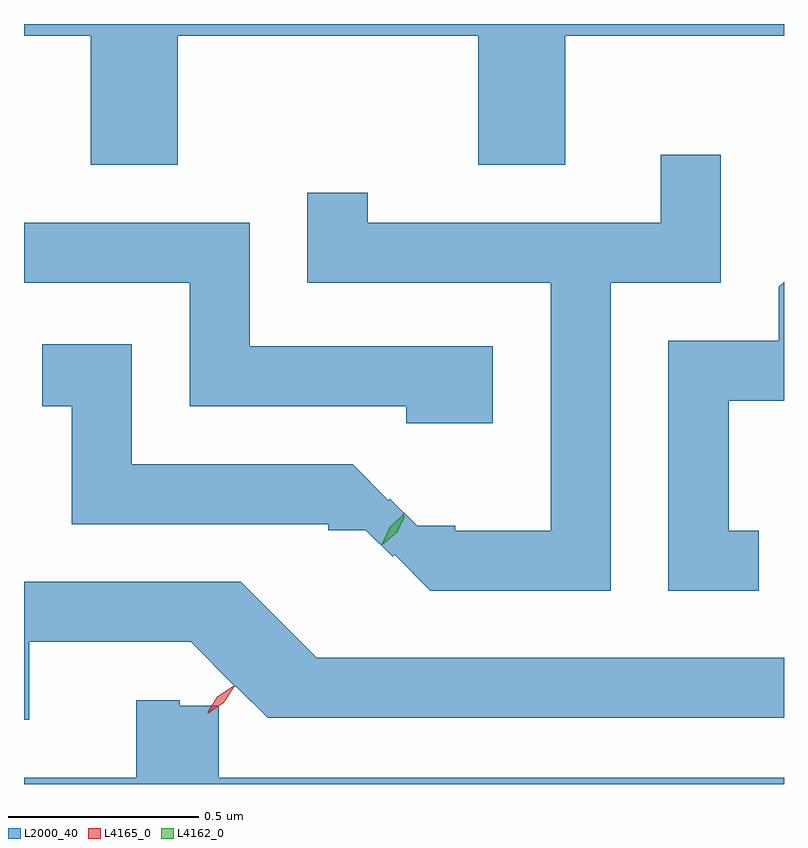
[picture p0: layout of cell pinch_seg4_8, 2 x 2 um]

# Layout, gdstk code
import gdstk
lib = gdstk.Library(unit=1e-6, precision=1e-09)
def P(c, l, *ps):  # polygons
    for p in ps: c.add(gdstk.Polygon(p, *l))
L2000_40 = (2000, 40)
L4162_0 = (4162, 0)
L4165_0 = (4165, 0)

pinch_seg4_8 = lib.new_cell('pinch_seg4_8')
P(pinch_seg4_8, L2000_40, [(858.895,1336.916),(859.071,1336.916),(859.071,1336.576),(859.299,1336.576),(859.299,1336.916),(860.091,1336.916),(860.091,1336.576),(860.319,1336.576),(860.319,1336.916),(860.895,1336.916),(860.895,1336.947),(858.895,1336.947)],
  [(860.439,1336.266),(860.729,1336.266),(860.729,1336.603),(860.571,1336.603),(860.571,1336.424),(859.799,1336.424),(859.799,1336.503),(859.641,1336.503),(859.641,1336.266),(860.281,1336.266),(860.281,1335.614),(860.03,1335.614),(860.03,1335.626),(859.93,1335.626),(859.858,1335.698),(859.854,1335.694),(859.76,1335.789),(859.179,1335.789),(859.179,1336.104),(858.943,1336.104),(858.943,1335.941),(859.021,1335.941),(859.021,1335.631),(859.695,1335.631),(859.695,1335.615),(859.794,1335.615),(859.865,1335.545),(859.87,1335.55),(859.964,1335.456),(860.439,1335.456)],
  [(860.129,1336.099),(859.489,1336.099),(859.489,1336.424),(858.895,1336.424),(858.895,1336.266),(859.331,1336.266),(859.331,1335.941),(859.901,1335.941),(859.901,1335.896),(860.129,1335.896)],
  [(860.828,1335.614),(860.749,1335.614),(860.749,1335.956),(860.895,1335.956),(860.895,1336.269),(860.881,1336.255),(860.881,1336.114),(860.591,1336.114),(860.591,1335.456),(860.828,1335.456)],
  [(858.909,1335.321),(859.334,1335.321),(859.452,1335.202),(859.453,1335.203),(859.536,1335.121),(860.895,1335.121),(860.895,1335.279),(859.665,1335.279),(859.465,1335.479),(858.895,1335.479),(858.895,1335.116),(858.909,1335.116)],
  [(860.895,1334.964),(859.408,1334.964),(859.408,1335.153),(859.305,1335.153),(859.305,1335.168),(859.191,1335.168),(859.191,1334.964),(858.895,1334.964),(858.895,1334.947),(860.895,1334.947)])
P(pinch_seg4_8, L4162_0, [(859.837,1335.575),(859.837,1335.576),(859.858,1335.623),(859.895,1335.659),(859.896,1335.659),(859.896,1335.658),(859.874,1335.611),(859.837,1335.575)],
  [(859.841,1335.579),(859.841,1335.58),(859.861,1335.621),(859.896,1335.651),(859.897,1335.651),(859.897,1335.651),(859.877,1335.609),(859.842,1335.579)])
P(pinch_seg4_8, L4165_0, [(859.378,1335.132),(859.378,1335.133),(859.406,1335.175),(859.447,1335.204),(859.448,1335.204),(859.448,1335.203),(859.42,1335.161),(859.379,1335.132)],
  [(859.378,1335.136),(859.378,1335.137),(859.404,1335.177),(859.444,1335.204),(859.445,1335.204),(859.445,1335.203),(859.418,1335.163),(859.379,1335.136)])

lib.write_gds('pinch_seg4_8.gds')
